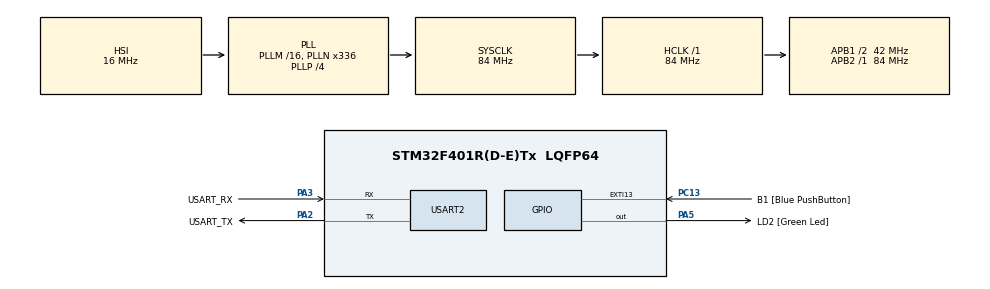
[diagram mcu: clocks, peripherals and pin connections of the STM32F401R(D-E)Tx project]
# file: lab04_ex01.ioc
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Mcu.Family=STM32F4
Mcu.Name=STM32F401R(D-E)Tx
Mcu.Package=LQFP64
NVIC.PriorityGroup=NVIC_PRIORITYGROUP_0
NVIC.USART2_IRQn=true\:0\:0\:false\:false\:true\:true\:true\:true
PA13.GPIO_Label=TMS
PA13.Mode=Serial_Wire
PA13.Signal=SYS_JTMS-SWDIO
PA14.GPIO_Label=TCK
PA14.Mode=Serial_Wire
PA14.Signal=SYS_JTCK-SWCLK
PA2.GPIO_Label=USART_TX
PA2.GPIO_Mode=GPIO_MODE_AF_PP
PA2.GPIO_PuPd=GPIO_NOPULL
PA2.GPIO_Speed=GPIO_SPEED_FREQ_LOW
PA2.Mode=Asynchronous
PA2.Signal=USART2_TX
PA3.GPIO_Label=USART_RX
PA3.GPIO_Mode=GPIO_MODE_AF_PP
PA3.GPIO_PuPd=GPIO_NOPULL
PA3.GPIO_Speed=GPIO_SPEED_FREQ_LOW
PA3.Mode=Asynchronous
PA3.Signal=USART2_RX
PA5.GPIO_Label=LD2 [Green Led]
PA5.GPIO_Mode=GPIO_MODE_OUTPUT_PP
PA5.GPIO_PuPd=GPIO_NOPULL
PA5.GPIO_Speed=GPIO_SPEED_FREQ_LOW
PA5.Signal=GPIO_Output
PB3.GPIO_Label=SWO
PB3.Signal=SYS_JTDO-SWO
PC13-ANTI_TAMP.GPIO_Label=B1 [Blue PushButton]
PC13-ANTI_TAMP.GPIO_ModeDefaultEXTI=GPIO_MODE_IT_FALLING
PC13-ANTI_TAMP.GPIO_PuPd=GPIO_NOPULL
PC13-ANTI_TAMP.Signal=GPXTI13
PC14-OSC32_IN.Mode=LSE-External-Oscillator
PC14-OSC32_IN.Signal=RCC_OSC32_IN
PC15-OSC32_OUT.Mode=LSE-External-Oscillator
PC15-OSC32_OUT.Signal=RCC_OSC32_OUT
PH0\ -\ OSC_IN.Mode=HSE-External-Clock-Source
PH0\ -\ OSC_IN.Signal=RCC_OSC_IN
PH1\ -\ OSC_OUT.Mode=HSE-External-Clock-Source
PH1\ -\ OSC_OUT.Signal=RCC_OSC_OUT
ProjectManager.HeapSize=0x200
ProjectManager.StackSize=0x400
ProjectManager.TargetToolchain=STM32CubeIDE
RCC.48MHZClocksFreq_Value=48000000
RCC.AHBFreq_Value=84000000
RCC.APB1CLKDivider=RCC_HCLK_DIV2
RCC.APB1Freq_Value=42000000
RCC.APB1TimFreq_Value=84000000
RCC.APB2Freq_Value=84000000
RCC.APB2TimFreq_Value=84000000
RCC.CortexFreq_Value=84000000
RCC.HCLKFreq_Value=84000000
RCC.HSE_VALUE=8000000
RCC.HSI_VALUE=16000000
RCC.PLLN=336
RCC.PLLP=RCC_PLLP_DIV4
RCC.PLLQ=7
RCC.SYSCLKFreq_VALUE=84000000
RCC.SYSCLKSource=RCC_SYSCLKSOURCE_PLLCLK
RCC.VCOOutputFreq_Value=336000000
USART2.VirtualMode=VM_ASYNC
board=NUCLEO-F401RE

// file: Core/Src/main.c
/* USER CODE BEGIN Header */
/**
  ******************************************************************************
  * @file           : main.c
  * @brief          : Main program body
  ******************************************************************************
  * @attention
  *
  * Copyright (c) 2023 STMicroelectronics.
  * All rights reserved.
  *
  * This software is licensed under terms that can be found in the LICENSE file
  * in the root directory of this software component.
  * If no LICENSE file comes with this software, it is provided AS-IS.
  *
  ******************************************************************************
  */
/* USER CODE END Header */
#include "main.h"

UART_HandleTypeDef huart2;

void SystemClock_Config(void);
static void MX_GPIO_Init(void);
static void MX_USART2_UART_Init(void);

/* USER CODE BEGIN 0 */

int volatile correctlySentData = 0;
int volatile correctlyReceivedData = 0;

void HAL_UART_TxCpltCallback(UART_HandleTypeDef *huart){
	  // Set Tx flag
	  correctlySentData = 1;
}

void HAL_UART_RxCpltCallback(UART_HandleTypeDef *huart){
	  // Set Rx flag
	  correctlyReceivedData = 1;
}
/* USER CODE END 0 */

int main(void)
{

  /* MCU Configuration--------------------------------------------------------*/

  /* Reset of all peripherals, Initializes the Flash interface and the Systick. */
  HAL_Init();

  /* Configure the system clock */
  SystemClock_Config();

  /* Initialize all configured peripherals */
  MX_GPIO_Init();
  MX_USART2_UART_Init();

  /* Infinite loop */
  /* USER CODE BEGIN WHILE */
  char welcome_message[] = "Write an integer number from 1 to 3:\r\n";
  char received_number; // Variable that will store the input data
  char pressed[] = "PRESSED";
  char released[] = "RELEASED";

  // Print welcome message
  HAL_UART_Transmit_IT(&huart2, (uint8_t *)welcome_message, sizeof(char)*strlen(welcome_message));

  while (1)
  {
  // Check TX flag
   if (correctlySentData == 1) {
   correctlySentData = 0;

   }

   // Prepare UART to receive a single character
   HAL_UART_Receive_IT(&huart2, &received_number, 1);

	   // Check RX flag
   if (correctlyReceivedData == 1) {
   correctlyReceivedData = 0;
	   if(received_number == '1'){
		HAL_GPIO_TogglePin(LD2_GPIO_Port, LD2_Pin); //If the received number is 1, then toggle the LED
	   }
	   else if(received_number == '2'){
		   if(HAL_GPIO_ReadPin(B1_GPIO_Port, B1_Pin)==GPIO_PIN_SET){
			   HAL_UART_Transmit_IT(&huart2, (uint8_t *)released, sizeof(char)*strlen(released));
			   // In case the received number is 2 and the button is released, the code should transmit the RELEASED message
		   }
		   else{
			   HAL_UART_Transmit_IT(&huart2, (uint8_t *)pressed, sizeof(char)*strlen(pressed));
				   // If the received number is 2 and the button is pressed, the PRESSED message is transmitted
		   }
			   }
	   else if(received_number == '3'){
		   HAL_UART_Transmit_IT(&huart2, (uint8_t *)welcome_message, sizeof(char)*strlen(welcome_message));
		   // If the received number is 3, then print the welcome menu again
	   }
   }

/* USER CODE END WHILE */

  }
}

void SystemClock_Config(void)
{
  RCC_OscInitTypeDef RCC_OscInitStruct = {0};
  RCC_ClkInitTypeDef RCC_ClkInitStruct = {0};

  /** Configure the main internal regulator output voltage
  */
  __HAL_RCC_PWR_CLK_ENABLE();
  __HAL_PWR_VOLTAGESCALING_CONFIG(PWR_REGULATOR_VOLTAGE_SCALE2);

  /** Initializes the RCC Oscillators according to the specified parameters
  * in the RCC_OscInitTypeDef structure.
  */
  RCC_OscInitStruct.OscillatorType = RCC_OSCILLATORTYPE_HSI;
  RCC_OscInitStruct.HSIState = RCC_HSI_ON;
  RCC_OscInitStruct.HSICalibrationValue = RCC_HSICALIBRATION_DEFAULT;
  RCC_OscInitStruct.PLL.PLLState = RCC_PLL_ON;
  RCC_OscInitStruct.PLL.PLLSource = RCC_PLLSOURCE_HSI;
  RCC_OscInitStruct.PLL.PLLM = 16;
  RCC_OscInitStruct.PLL.PLLN = 336;
  RCC_OscInitStruct.PLL.PLLP = RCC_PLLP_DIV4;
  RCC_OscInitStruct.PLL.PLLQ = 7;
  if (HAL_RCC_OscConfig(&RCC_OscInitStruct) != HAL_OK)
  {
    Error_Handler();
  }

  /** Initializes the CPU, AHB and APB buses clocks
  */
  RCC_ClkInitStruct.ClockType = RCC_CLOCKTYPE_HCLK|RCC_CLOCKTYPE_SYSCLK
                              |RCC_CLOCKTYPE_PCLK1|RCC_CLOCKTYPE_PCLK2;
  RCC_ClkInitStruct.SYSCLKSource = RCC_SYSCLKSOURCE_PLLCLK;
  RCC_ClkInitStruct.AHBCLKDivider = RCC_SYSCLK_DIV1;
  RCC_ClkInitStruct.APB1CLKDivider = RCC_HCLK_DIV2;
  RCC_ClkInitStruct.APB2CLKDivider = RCC_HCLK_DIV1;

  if (HAL_RCC_ClockConfig(&RCC_ClkInitStruct, FLASH_LATENCY_2) != HAL_OK)
  {
    Error_Handler();
  }
}

static void MX_USART2_UART_Init(void)
{

  huart2.Instance = USART2;
  huart2.Init.BaudRate = 115200;
  huart2.Init.WordLength = UART_WORDLENGTH_8B;
  huart2.Init.StopBits = UART_STOPBITS_1;
  huart2.Init.Parity = UART_PARITY_NONE;
  huart2.Init.Mode = UART_MODE_TX_RX;
  huart2.Init.HwFlowCtl = UART_HWCONTROL_NONE;
  huart2.Init.OverSampling = UART_OVERSAMPLING_16;
  if (HAL_UART_Init(&huart2) != HAL_OK)
  {
    Error_Handler();
  }

}

static void MX_GPIO_Init(void)
{
  GPIO_InitTypeDef GPIO_InitStruct = {0};

  /* GPIO Ports Clock Enable */
  __HAL_RCC_GPIOC_CLK_ENABLE();
  __HAL_RCC_GPIOH_CLK_ENABLE();
  __HAL_RCC_GPIOA_CLK_ENABLE();
  __HAL_RCC_GPIOB_CLK_ENABLE();

  /*Configure GPIO pin Output Level */
  HAL_GPIO_WritePin(LD2_GPIO_Port, LD2_Pin, GPIO_PIN_RESET);

  /*Configure GPIO pin : B1_Pin */
  GPIO_InitStruct.Pin = B1_Pin;
  GPIO_InitStruct.Mode = GPIO_MODE_IT_FALLING;
  GPIO_InitStruct.Pull = GPIO_NOPULL;
  HAL_GPIO_Init(B1_GPIO_Port, &GPIO_InitStruct);

  /*Configure GPIO pin : LD2_Pin */
  GPIO_InitStruct.Pin = LD2_Pin;
  GPIO_InitStruct.Mode = GPIO_MODE_OUTPUT_PP;
  GPIO_InitStruct.Pull = GPIO_NOPULL;
  GPIO_InitStruct.Speed = GPIO_SPEED_FREQ_LOW;
  HAL_GPIO_Init(LD2_GPIO_Port, &GPIO_InitStruct);

}

void Error_Handler(void)
{
  __disable_irq();
  while (1)
  {
  }
}
